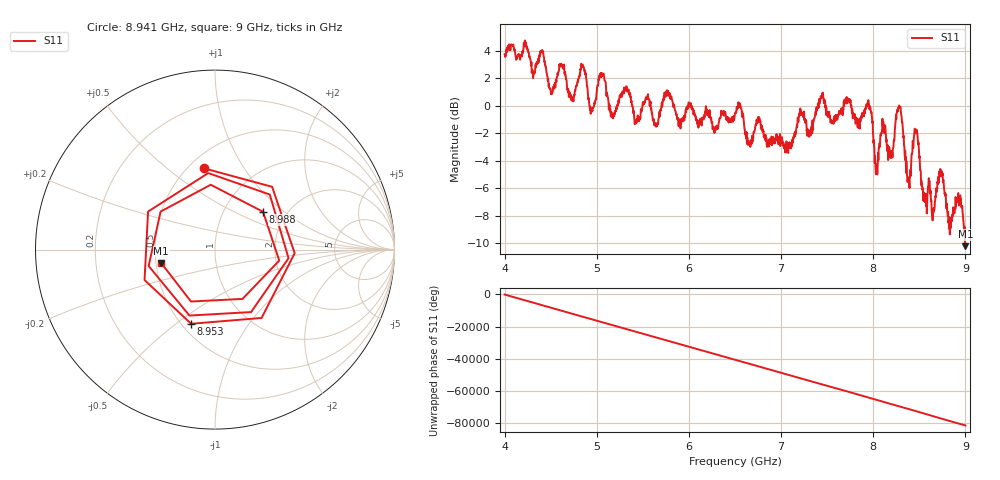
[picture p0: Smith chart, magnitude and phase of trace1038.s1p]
! Created with skrf 1.8.0 (http://scikit-rf.org).
# Hz S RI R 50.0
!freq ReS11 ImS11
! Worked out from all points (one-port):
!   1601 points, 4 GHz to 9 GHz, reference 50 ohm
!   lowest |S11| = -10.2 dB at 9 GHz (marker M1), VSWR 1.89, Z = 26.7 - j4.42 ohm
!   |S11| at or under -10 dB: 8.993891 GHz to 8.99518 GHz (1.289 MHz wide, 0.0143 % of centre); 8.997761 GHz to end of sweep
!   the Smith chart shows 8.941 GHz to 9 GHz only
!   S11 on the Smith chart (normalised r, x): 8.941 GHz: 0.60, +0.68; 8.953 GHz: 0.56, -0.57; 8.988 GHz: 1.52, +0.73; 9 GHz: 0.53, -0.09
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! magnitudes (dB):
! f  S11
! 4 GHz  3.8
! 4.403 GHz  3.9
! 4.509 GHz  0.9
! 4.625 GHz  2.9
! 4.734 GHz  0.6
! 4.856 GHz  2.8
! 4.944 GHz  -0.4
! 5.05 GHz  2.1
! 5.169 GHz  -0.8
! 5.25 GHz  0.8
! 5.875 GHz  -1.0
! 6.5 GHz  -0.5
! 7.125 GHz  -2.6
! 7.438 GHz  0.7
! 7.75 GHz  0.2
! 7.956 GHz  0.1
! 8.038 GHz  -4.4
! 8.203 GHz  -3.3
! 8.284 GHz  -0.1
! 8.375 GHz  -5.4
! 8.466 GHz  -1.7
! 8.559 GHz  -7.0
! 8.728 GHz  -4.6
! 8.828 GHz  -8.1
! 8.941 GHz  -6.8
! 8.953 GHz  -7.2
! 8.988 GHz  -9.4
! 9 GHz  -10.2
